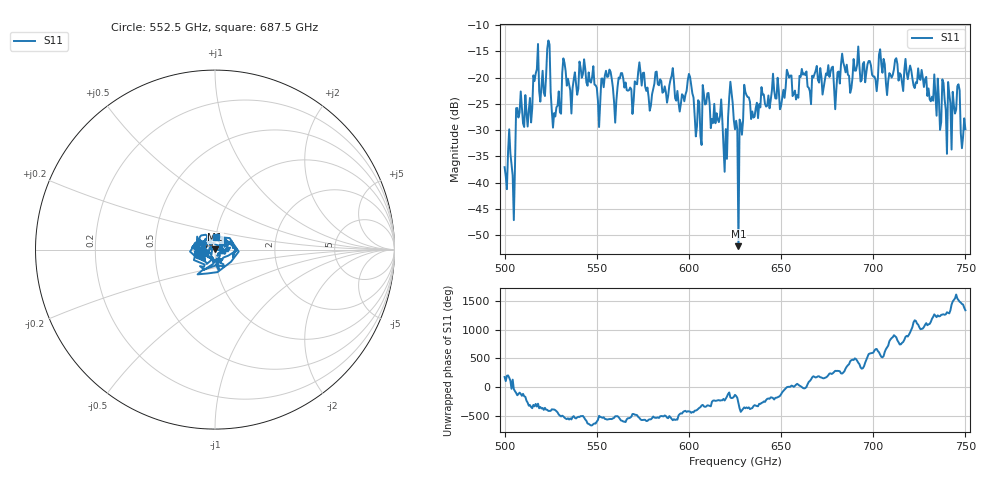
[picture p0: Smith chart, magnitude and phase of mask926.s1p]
!Created with skrf (http://scikit-rf.org).
# GHz S MA R 50.0
!freq magS11 angS11
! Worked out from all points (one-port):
!   401 points, 500 GHz to 750 GHz, reference 50 ohm
!   lowest |S11| = -52.1 dB at 626.9 GHz (marker M1), VSWR 1.00, Z = 50 + j0.247 ohm
!   |S11| at or under -10 dB: start of sweep to end of sweep
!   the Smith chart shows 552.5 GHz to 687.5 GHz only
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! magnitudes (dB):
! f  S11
! 500 GHz  -37.0
! 504.4 GHz  -38.6
! 507.5 GHz  -27.6
! 513.8 GHz  -23.9
! 516.9 GHz  -19.2
! 520.6 GHz  -18.7
! 523.8 GHz  -13.0
! 526.9 GHz  -26.8
! 531.2 GHz  -19.2
! 556.2 GHz  -19.8
! 560 GHz  -28.6
! 562.5 GHz  -20.2
! 593.8 GHz  -22.6
! 600.6 GHz  -19.9
! 603.1 GHz  -27.3
! 608.8 GHz  -25.1
! 619.4 GHz  -37.9
! 622.5 GHz  -20.8
! 625 GHz  -29.9
! 626.9 GHz  -52.1
! 631.2 GHz  -23.3
! 635 GHz  -27.6
! 656.2 GHz  -23.5
! 687.5 GHz  -22.9
! 718.8 GHz  -20.3
! 741.2 GHz  -23.0
! 745.6 GHz  -21.6
! 750 GHz  -29.8
